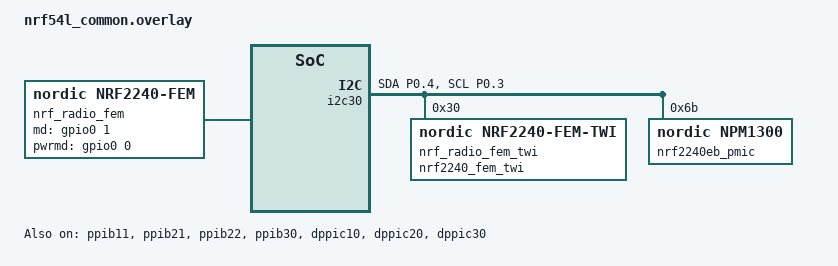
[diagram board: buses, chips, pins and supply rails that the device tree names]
/* Copyright (c) 2026 Nordic Semiconductor ASA
 *
 * SPDX-License-Identifier: LicenseRef-Nordic-5-Clause
 */

/ {
	nrf_radio_fem: nrf2240_fem {
		compatible = "nordic,nrf2240-fem";
		cs-gpios = <&gpio0 2 GPIO_ACTIVE_HIGH>;
		md-gpios = <&gpio0 1 GPIO_ACTIVE_HIGH>;
		pwrmd-gpios = <&gpio0 0 GPIO_ACTIVE_HIGH>;
		twi-if = <&nrf_radio_fem_twi>;
	};
};

&i2c30 {
	status = "okay";

	pinctrl-0 = <&i2c30_default>;
	pinctrl-1 = <&i2c30_sleep>;
	pinctrl-names = "default", "sleep";

	nrf_radio_fem_twi: nrf2240_fem_twi@30 {
		compatible = "nordic,nrf2240-fem-twi";
		status = "okay";
		reg = <0x30>;
	};

	/* The nPM1300 on the nRF2240-EB is used to supply power to the nRF2240 device. */
	nrf2240eb_pmic: pmic@6b {
		compatible = "nordic,npm1300";
		status = "okay";
		reg = <0x6b>;

		nrf2240eb_pmic_charger: charger {
			compatible = "nordic,npm1300-charger";
			status = "okay";
			/* When objects are placed close to the PCB antenna of the nRF2240-EB shield
			 * the supply voltage drops on the nRF2240 power supply pin VDDPALDO were
			 * observed. As a workaround the current limit on VBUS of the PMIC
			 * is increased.
			 */
			vbus-limit-microamp = <500000>;
			/* This PMIC does not have a battery, but the settings below are required
			 * by the driver
			 */
			term-microvolt = <4150000>;
			current-microamp = <150000>;
			dischg-limit-microamp = <1000000>;
			thermistor-ohms = <10000>;
			thermistor-beta = <3380>;
		};
	};
};

&pinctrl {
	i2c30_default: i2c30_default {
		group1 {
			psels = <NRF_PSEL(TWIM_SDA, 0, 4)>,
				<NRF_PSEL(TWIM_SCL, 0, 3)>;
			bias-pull-up;
		};
	};

	i2c30_sleep: i2c30_sleep {
		group1 {
			psels = <NRF_PSEL(TWIM_SDA, 0, 4)>,
				<NRF_PSEL(TWIM_SCL, 0, 3)>;
			low-power-enable;
		};
	};
};

&ppib11 {
	status = "okay";
};

&ppib21 {
	status = "okay";
};

&ppib22 {
	status = "okay";
};

&ppib30 {
	status = "okay";
};

&dppic10 {
	status = "okay";
};

&dppic20 {
	status = "okay";
};

&dppic30 {
	status = "okay";
};
